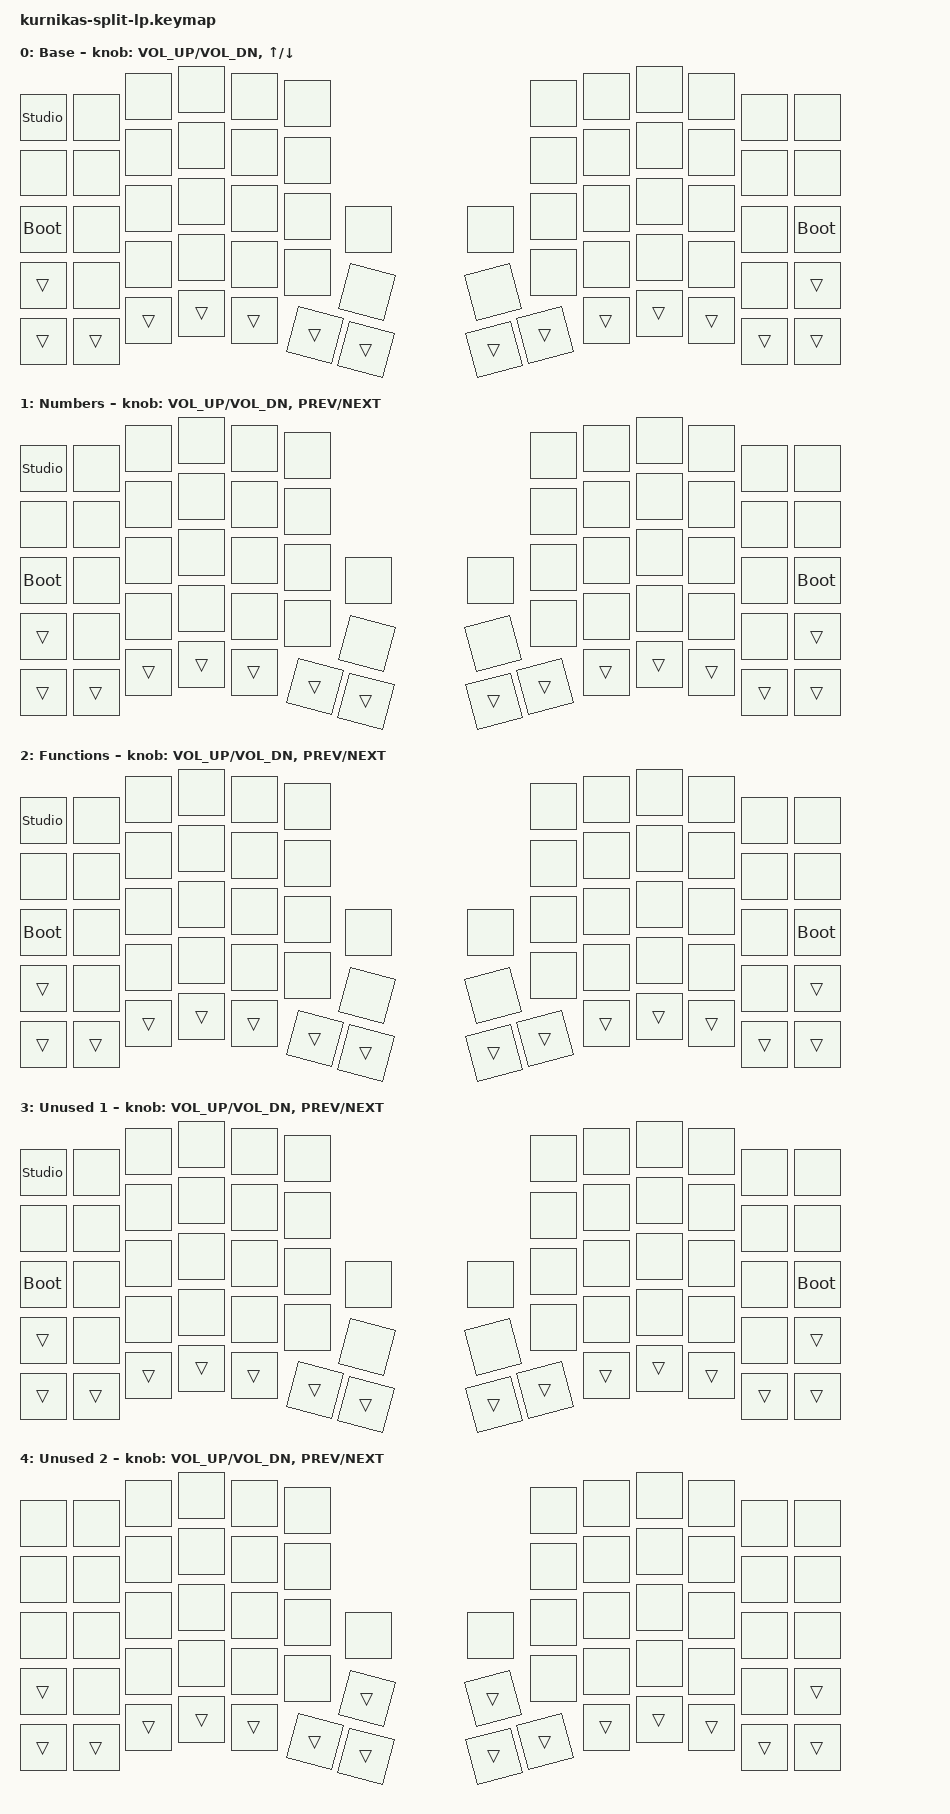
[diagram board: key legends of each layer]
#include <behaviors.dtsi>
#include <dt-bindings/zmk/keys.h>
#define BASE 0
#define NUMBERS 1
#define FUNCTIONS 2

/ {
    keymap {
        compatible = "zmk,keymap";

        default_layer { // Layer 0
            display-name = "Base";
            bindings = <
                &studio_unlock   &none    &none    &none      &none      &none                                &none    &none    &none      &none       &none         &none
                &none            &none    &none    &none      &none      &none                                &none    &none    &none      &none       &none         &none
                &bootloader      &none    &none    &none      &none      &none       &none           &none    &none    &none    &none      &none       &none         &bootloader
                &trans           &none    &none    &none      &none      &none       &none           &none    &none    &none    &none      &none       &none         &trans
                &trans           &trans   &trans   &trans     &trans     &trans      &trans          &trans   &trans   &trans   &trans     &trans      &trans        &trans
            >;
            sensor-bindings = <&inc_dec_kp C_VOL_UP C_VOL_DN &inc_dec_kp UP DOWN>;
        };
        numbers { // Layer 1
            display-name = "Numbers";
            bindings = <
                &studio_unlock   &none    &none    &none      &none      &none                                &none    &none    &none      &none       &none         &none
                &none            &none    &none    &none      &none      &none                                &none    &none    &none      &none       &none         &none
                &bootloader      &none    &none    &none      &none      &none       &none           &none    &none    &none    &none      &none       &none         &bootloader
                &trans           &none    &none    &none      &none      &none       &none           &none    &none    &none    &none      &none       &none         &trans
                &trans           &trans   &trans   &trans     &trans     &trans      &trans          &trans   &trans   &trans   &trans     &trans      &trans        &trans
            >;
            sensor-bindings = <&inc_dec_kp C_VOL_UP C_VOL_DN &inc_dec_kp C_PREV C_NEXT>;
        };
        functions { // Layer 2
            display-name = "Functions";
            bindings = <
                &studio_unlock   &none    &none    &none      &none      &none                                &none    &none    &none      &none       &none         &none
                &none            &none    &none    &none      &none      &none                                &none    &none    &none      &none       &none         &none
                &bootloader      &none    &none    &none      &none      &none       &none           &none    &none    &none    &none      &none       &none         &bootloader
                &trans           &none    &none    &none      &none      &none       &none           &none    &none    &none    &none      &none       &none         &trans
                &trans           &trans   &trans   &trans     &trans     &trans      &trans          &trans   &trans   &trans   &trans     &trans      &trans        &trans
            >;
            sensor-bindings = <&inc_dec_kp C_VOL_UP C_VOL_DN &inc_dec_kp C_PREV C_NEXT>;
        };
        layer_3 { // Layer 3
            display-name = "Unused 1";
            bindings = <
                &studio_unlock   &none    &none    &none      &none      &none                                &none    &none    &none      &none       &none         &none
                &none            &none    &none    &none      &none      &none                                &none    &none    &none      &none       &none         &none
                &bootloader      &none    &none    &none      &none      &none       &none           &none    &none    &none    &none      &none       &none         &bootloader
                &trans           &none    &none    &none      &none      &none       &none           &none    &none    &none    &none      &none       &none         &trans
                &trans           &trans   &trans   &trans     &trans     &trans      &trans          &trans   &trans   &trans   &trans     &trans      &trans        &trans
            >;
            sensor-bindings = <&inc_dec_kp C_VOL_UP C_VOL_DN &inc_dec_kp C_PREV C_NEXT>;
        };
        layer_4 { // Layer 4
            display-name = "Unused 2";
            bindings = <
                &none    &none    &none    &none      &none      &none                                &none    &none    &none      &none       &none         &none
                &none    &none    &none    &none      &none      &none                                &none    &none    &none      &none       &none         &none
                &none    &none    &none    &none      &none      &none       &none           &none    &none    &none    &none      &none       &none         &none
                &trans   &none    &none    &none      &none      &none       &trans          &trans   &none    &none    &none      &none       &none         &trans
                &trans   &trans   &trans   &trans     &trans     &trans      &trans          &trans   &trans   &trans   &trans     &trans      &trans        &trans
            >;
            sensor-bindings = <&inc_dec_kp C_VOL_UP C_VOL_DN &inc_dec_kp C_PREV C_NEXT>;
        };
    };
 };

